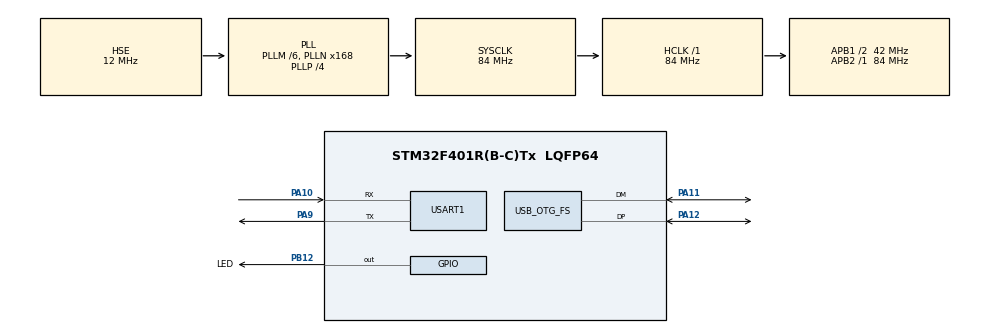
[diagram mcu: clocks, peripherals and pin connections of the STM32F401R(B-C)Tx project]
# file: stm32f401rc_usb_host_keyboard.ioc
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Mcu.Family=STM32F4
Mcu.Name=STM32F401R(B-C)Tx
Mcu.Package=LQFP64
NVIC.OTG_FS_IRQn=true\:0\:0\:false\:false\:true\:true\:true
NVIC.PriorityGroup=NVIC_PRIORITYGROUP_4
PA10.Mode=Asynchronous
PA10.Signal=USART1_RX
PA11.Mode=Host_Only
PA11.Signal=USB_OTG_FS_DM
PA12.Mode=Host_Only
PA12.Signal=USB_OTG_FS_DP
PA13.Mode=Serial_Wire
PA13.Signal=SYS_JTMS-SWDIO
PA14.Mode=Serial_Wire
PA14.Signal=SYS_JTCK-SWCLK
PA9.Mode=Asynchronous
PA9.Signal=USART1_TX
PB12.GPIO_Label=LED
PB12.Signal=GPIO_Output
PC14-OSC32_IN.Mode=LSE-External-Oscillator
PC14-OSC32_IN.Signal=RCC_OSC32_IN
PC15-OSC32_OUT.Mode=LSE-External-Oscillator
PC15-OSC32_OUT.Signal=RCC_OSC32_OUT
PH0\ -\ OSC_IN.Mode=HSE-External-Oscillator
PH0\ -\ OSC_IN.Signal=RCC_OSC_IN
PH1\ -\ OSC_OUT.Mode=HSE-External-Oscillator
PH1\ -\ OSC_OUT.Signal=RCC_OSC_OUT
ProjectManager.HeapSize=0x200
ProjectManager.StackSize=0x400
ProjectManager.TargetToolchain=TrueSTUDIO
RCC.48MHZClocksFreq_Value=48000000
RCC.AHBFreq_Value=84000000
RCC.APB1CLKDivider=RCC_HCLK_DIV2
RCC.APB1Freq_Value=42000000
RCC.APB1TimFreq_Value=84000000
RCC.APB2Freq_Value=84000000
RCC.APB2TimFreq_Value=84000000
RCC.CortexFreq_Value=84000000
RCC.HCLKFreq_Value=84000000
RCC.HSE_VALUE=12000000
RCC.HSI_VALUE=16000000
RCC.PLLM=6
RCC.PLLN=168
RCC.PLLP=RCC_PLLP_DIV4
RCC.PLLQ=7
RCC.SYSCLKFreq_VALUE=84000000
RCC.SYSCLKSource=RCC_SYSCLKSOURCE_PLLCLK
RCC.VCOOutputFreq_Value=336000000
USART1.VirtualMode=VM_ASYNC
USB_HOST.USBH_DEBUG_LEVEL=3
USB_HOST.USBH_HandleTypeDef=hUsbHostFS
USB_HOST.VirtualModeFS=Hid
USB_OTG_FS.VirtualMode=Host_Only
USB_OTG_FS.phy_itface=HCD_PHY_EMBEDDED
VP_USB_HOST_VS_USB_HOST_HID_FS.Mode=HID_FS
board=custom

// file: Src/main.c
/* USER CODE BEGIN Header */
/**
 ******************************************************************************
 * @file           : main.c
 * @brief          : Main program body
 ******************************************************************************
 * @attention
 *
 * <h2><center>&copy; Copyright (c) 2020 STMicroelectronics.
 * All rights reserved.</center></h2>
 *
 * This software component is licensed by ST under Ultimate Liberty license
 * SLA0044, the "License"; You may not use this file except in compliance with
 * the License. You may obtain a copy of the License at:
 *                             www.st.com/SLA0044
 *
 ******************************************************************************
 */
/* USER CODE END Header */

#include "main.h"
#include "usart.h"
#include "usb_host.h"
#include "gpio.h"

/* USER CODE BEGIN Includes */
#include "misc_utils.h"
#include "usbh_hid.h"
/* USER CODE END Includes */

/* USER CODE BEGIN PV */

gpio_t led = { LED_GPIO_Port, LED_Pin };
int n = 0;

extern ApplicationTypeDef Appli_state;
extern USBH_HandleTypeDef hUsbHostFS;
/* USER CODE END PV */

void SystemClock_Config(void);
void MX_USB_HOST_Process(void);

int main(void) {

	/* MCU Configuration--------------------------------------------------------*/

	/* Reset of all peripherals, Initializes the Flash interface and the Systick. */
	HAL_Init();

	/* Configure the system clock */
	SystemClock_Config();

	/* Initialize all configured peripherals */
	MX_GPIO_Init();
	MX_USART1_UART_Init();
	MX_USB_HOST_Init();

	/* Infinite loop */
	while (1) {
		MX_USB_HOST_Process();

		/* USER CODE BEGIN 3 */
		digitalToggle(led);
		if (Appli_state == APPLICATION_READY) {
			if (USBH_HID_GetDeviceType(&hUsbHostFS) == HID_KEYBOARD) {
				HID_KEYBD_Info_TypeDef *k_pinfo = NULL;
				char c = 0;
				k_pinfo = USBH_HID_GetKeybdInfo(&hUsbHostFS);
				if (k_pinfo != NULL) {
					c = USBH_HID_GetASCIICode(k_pinfo);
					if(c != 0) {
						printf("got key: %d ==> %c\n", c, c);
					}
				}
			} else if (USBH_HID_GetDeviceType(&hUsbHostFS) == HID_MOUSE) {

			}
		} else {

		}
	}
	/* USER CODE END 3 */
}

void SystemClock_Config(void) {
	RCC_OscInitTypeDef RCC_OscInitStruct = { 0 };
	RCC_ClkInitTypeDef RCC_ClkInitStruct = { 0 };

	/** Configure the main internal regulator output voltage
	 */
	__HAL_RCC_PWR_CLK_ENABLE()
	;
	__HAL_PWR_VOLTAGESCALING_CONFIG(PWR_REGULATOR_VOLTAGE_SCALE2);
	/** Initializes the CPU, AHB and APB busses clocks
	 */
	RCC_OscInitStruct.OscillatorType = RCC_OSCILLATORTYPE_HSE;
	RCC_OscInitStruct.HSEState = RCC_HSE_ON;
	RCC_OscInitStruct.PLL.PLLState = RCC_PLL_ON;
	RCC_OscInitStruct.PLL.PLLSource = RCC_PLLSOURCE_HSE;
	RCC_OscInitStruct.PLL.PLLM = 6;
	RCC_OscInitStruct.PLL.PLLN = 168;
	RCC_OscInitStruct.PLL.PLLP = RCC_PLLP_DIV4;
	RCC_OscInitStruct.PLL.PLLQ = 7;
	if (HAL_RCC_OscConfig(&RCC_OscInitStruct) != HAL_OK) {
		Error_Handler();
	}
	/** Initializes the CPU, AHB and APB busses clocks
	 */
	RCC_ClkInitStruct.ClockType = RCC_CLOCKTYPE_HCLK | RCC_CLOCKTYPE_SYSCLK
			| RCC_CLOCKTYPE_PCLK1 | RCC_CLOCKTYPE_PCLK2;
	RCC_ClkInitStruct.SYSCLKSource = RCC_SYSCLKSOURCE_PLLCLK;
	RCC_ClkInitStruct.AHBCLKDivider = RCC_SYSCLK_DIV1;
	RCC_ClkInitStruct.APB1CLKDivider = RCC_HCLK_DIV2;
	RCC_ClkInitStruct.APB2CLKDivider = RCC_HCLK_DIV1;

	if (HAL_RCC_ClockConfig(&RCC_ClkInitStruct, FLASH_LATENCY_2) != HAL_OK) {
		Error_Handler();
	}
}

void Error_Handler(void) {
}

/************************ (C) COPYRIGHT STMicroelectronics *****END OF FILE****/
